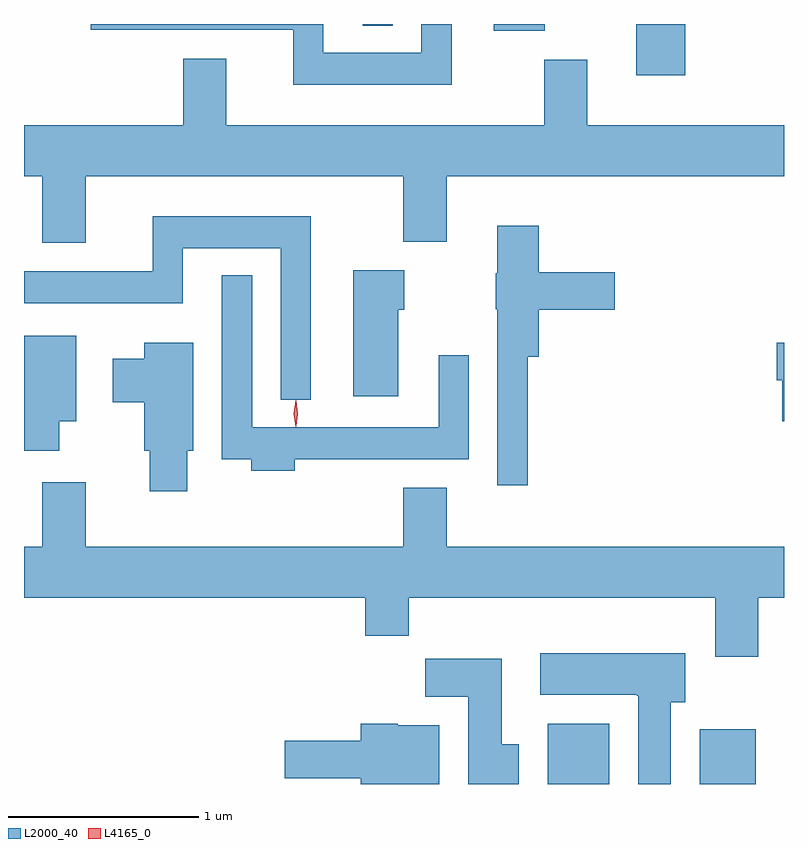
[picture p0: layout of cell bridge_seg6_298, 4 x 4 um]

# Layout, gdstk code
import gdstk
lib = gdstk.Library(unit=1e-6, precision=1e-09)
def R(c, l, rs):  # rectangles x0, y0, x1, y1
    for r in rs: c.add(gdstk.rectangle(r[:2], r[2:], *l))
def P(c, l, *ps):  # polygons
    for p in ps: c.add(gdstk.Polygon(p, *l))
L2000_40 = (2000, 40)
L4165_0 = (4165, 0)

bridge_seg6_298 = lib.new_cell('bridge_seg6_298')
R(bridge_seg6_298, L2000_40, [(1317.401,1551.276,1317.724,1551.594), (1318.201,1551.276,1318.494,1551.564), (1317.866,1555.006,1318.124,1555.276), (1317.116,1555.241,1317.384,1555.276), (1316.426,1555.268,1316.584,1555.276)])
P(bridge_seg6_298, L2000_40, [(1316.894,1555.276),(1316.736,1555.276),(1316.736,1555.124),(1316.219,1555.124),(1316.219,1555.276),(1314.996,1555.276),(1314.996,1555.246),(1316.061,1555.246),(1316.061,1554.956),(1316.894,1554.956)],
  [(1314.644,1554.476),(1314.741,1554.476),(1314.741,1554.126),(1314.969,1554.126),(1314.969,1554.476),(1316.641,1554.476),(1316.641,1554.131),(1316.869,1554.131),(1316.869,1554.476),(1318.644,1554.476),(1318.644,1554.744),(1317.609,1554.744),(1317.609,1555.089),(1317.381,1555.089),(1317.381,1554.744),(1315.709,1554.744),(1315.709,1555.094),(1315.481,1555.094),(1315.481,1554.744),(1314.644,1554.744)],
  [(1316.154,1554.264),(1315.321,1554.264),(1315.321,1553.974),(1314.644,1553.974),(1314.644,1553.806),(1315.479,1553.806),(1315.479,1554.096),(1315.996,1554.096),(1315.996,1553.298),(1316.154,1553.298)],
  [(1317.294,1553.526),(1317.354,1553.526),(1317.354,1553.771),(1317.754,1553.771),(1317.754,1553.969),(1317.354,1553.969),(1317.354,1554.214),(1317.136,1554.214),(1317.136,1553.965),(1317.126,1553.965),(1317.126,1553.775),(1317.136,1553.775),(1317.136,1552.848),(1317.294,1552.848)],
  [(1316.614,1553.771),(1316.644,1553.771),(1316.644,1553.979),(1316.376,1553.979),(1316.376,1553.316),(1316.614,1553.316)],
  [(1316.069,1552.986),(1316.984,1552.986),(1316.984,1553.533),(1316.826,1553.533),(1316.826,1553.154),(1315.844,1553.154),(1315.844,1553.953),(1315.686,1553.953),(1315.686,1552.986),(1315.841,1552.986),(1315.841,1552.926),(1316.069,1552.926)],
  [(1314.829,1553.186),(1314.919,1553.186),(1314.919,1553.634),(1314.644,1553.634),(1314.644,1553.031),(1314.829,1553.031)],
  [(1315.504,1553.031),(1315.534,1553.031),(1315.534,1553.599),(1315.276,1553.599),(1315.276,1553.514),(1315.111,1553.514),(1315.111,1553.286),(1315.276,1553.286),(1315.276,1553.031),(1315.306,1553.031),(1315.306,1552.816),(1315.504,1552.816)],
  [(1318.644,1553.599),(1318.606,1553.599),(1318.606,1553.401),(1318.636,1553.401),(1318.636,1553.186),(1318.644,1553.186)],
  [(1318.509,1552.256),(1318.644,1552.256),(1318.644,1552.524),(1316.869,1552.524),(1316.869,1552.834),(1316.641,1552.834),(1316.641,1552.524),(1314.969,1552.524),(1314.969,1552.864),(1314.741,1552.864),(1314.741,1552.524),(1314.644,1552.524),(1314.644,1552.256),(1316.441,1552.256),(1316.441,1552.056),(1316.669,1552.056),(1316.669,1552.256),(1318.281,1552.256),(1318.281,1551.946),(1318.509,1551.946)],
  [(1318.049,1551.706),(1318.124,1551.706),(1318.124,1551.964),(1317.361,1551.964),(1317.361,1551.746),(1317.87,1551.746),(1317.87,1551.74),(1317.876,1551.74),(1317.876,1551.276),(1318.049,1551.276)],
  [(1317.249,1551.484),(1317.159,1551.484),(1317.159,1551.934),(1316.756,1551.934),(1316.756,1551.736),(1316.981,1551.736),(1316.981,1551.276),(1317.249,1551.276)],
  [(1316.829,1551.584),(1316.61,1551.584),(1316.61,1551.594),(1316.416,1551.594),(1316.416,1551.504),(1316.016,1551.504),(1316.016,1551.306),(1316.416,1551.306),(1316.416,1551.276),(1316.829,1551.276)])
P(bridge_seg6_298, L4165_0, [(1316.075,1553.159),(1316.075,1553.16),(1316.065,1553.226),(1316.075,1553.292),(1316.075,1553.293),(1316.076,1553.292),(1316.086,1553.226),(1316.076,1553.16)],
  [(1316.074,1553.157),(1316.065,1553.226),(1316.074,1553.296),(1316.075,1553.296),(1316.075,1553.296),(1316.085,1553.226),(1316.075,1553.157),(1316.075,1553.157)])

lib.write_gds('bridge_seg6_298.gds')
